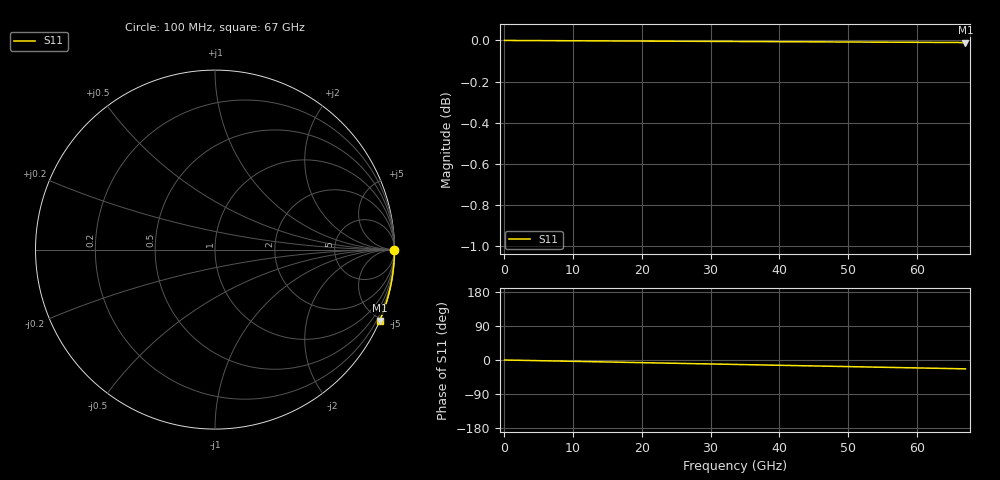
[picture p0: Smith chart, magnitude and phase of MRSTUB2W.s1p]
! Created with skrf (http://scikit-rf.org).
# Hz S RI R 50.0
!freq ReS11 ImS11
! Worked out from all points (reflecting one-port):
!   100 points, 100 MHz to 67 GHz, reference 50 ohm
!   lowest |S11| = 0.0 dB at 67 GHz (marker M1)
!   phase of S11 starts at -0 deg and turns -23 deg over the sweep
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1e8  1 -0.000608
2.127273e9  0.9999 -0.0129
4.154545e9  0.9996 -0.0253
6.181818e9  0.9992 -0.0376
8.884848e9  0.9984 -0.054
1.091212e10  0.9976 -0.0663
1.293939e10  0.9967 -0.0786
1.496667e10  0.9956 -0.0909
1.699394e10  0.9944 -0.1032
1.902121e10  0.993 -0.1154
2.104848e10  0.9915 -0.1276
2.307576e10  0.9898 -0.1399
2.577879e10  0.9873 -0.1561
2.780606e10  0.9853 -0.1683
2.983333e10  0.9831 -0.1804
3.186061e10  0.9807 -0.1925
3.388788e10  0.9783 -0.2046
3.591515e10  0.9756 -0.2166
3.794242e10  0.9728 -0.2286
3.99697e10  0.9699 -0.2406
4.199697e10  0.9668 -0.2525
4.605152e10  0.9603 -0.2762
4.807879e10  0.9567 -0.288
5.078182e10  0.9518 -0.3037
5.483636e10  0.944 -0.3271
5.889091e10  0.9356 -0.3502
6.294545e10  0.9266 -0.3731
6.7e10  0.9171 -0.3958
